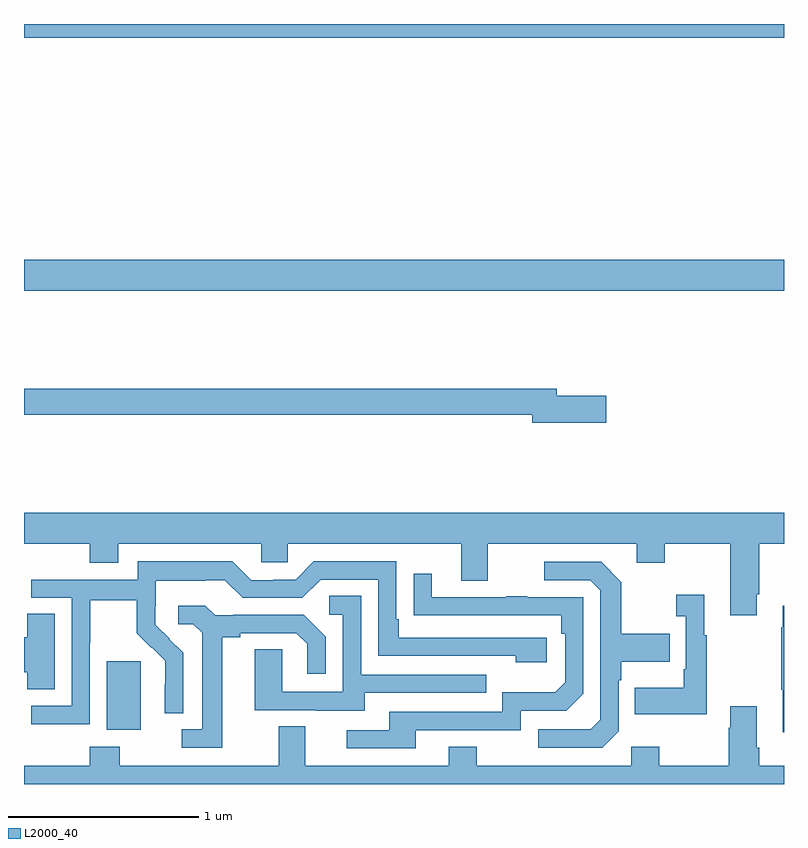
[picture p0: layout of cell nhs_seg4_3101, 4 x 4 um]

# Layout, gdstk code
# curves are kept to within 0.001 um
import gdstk
lib = gdstk.Library(unit=1e-6, precision=1e-09)
def R(c, l, rs):  # rectangles x0, y0, x1, y1
    for r in rs: c.add(gdstk.rectangle(r[:2], r[2:], *l))
def P(c, l, *ps):  # polygons
    for p in ps: c.add(gdstk.Polygon(p, *l))
L2000_40 = (2000, 40)

nhs_seg4_3101 = lib.new_cell('nhs_seg4_3101')
R(nhs_seg4_3101, L2000_40, [(275.435,785.186,275.614,785.547), (275,787.496,279,787.66), (275,788.828,279,788.9)])
P(nhs_seg4_3101, L2000_40, [(278.065,786.944),(277.804,786.944),(277.804,786.98),(275,786.98),(275,786.844),(277.676,786.844),(277.676,786.802),(278.065,786.802)],
  [(278.857,785.899),(278.87,785.899),(278.87,786.164),(279,786.164),(279,786.328),(275,786.328),(275,786.164),(275.345,786.164),(275.345,786.065),(275.497,786.065),(275.497,786.164),(276.249,786.164),(276.249,786.066),(276.387,786.066),(276.387,786.164),(277.301,786.164),(277.301,785.97),(277.441,785.97),(277.441,786.164),(278.225,786.164),(278.225,786.065),(278.373,786.065),(278.373,786.164),(278.717,786.164),(278.717,785.787),(278.857,785.787)],
  [(275.346,785.644),(275.349,785.644),(275.349,785.868),(275.593,785.868),(275.593,785.693),(275.67,785.616),(275.673,785.619),(275.744,785.549),(275.744,785.426),(275.742,785.426),(275.742,785.272),(275.838,785.272),(275.838,785.59),(275.692,785.738),(275.692,785.835),(275.694,785.835),(275.694,785.969),(275.957,785.969),(275.957,785.973),(276.057,785.973),(276.15,785.88),(276.465,785.88),(276.561,785.976),(276.864,785.976),(276.864,785.574),(277.589,785.574),(277.589,785.54),(277.75,785.54),(277.75,785.67),(276.973,785.67),(276.973,785.767),(276.96,785.767),(276.96,786.072),(276.525,786.072),(276.429,785.976),(276.311,785.976),(276.311,785.973),(276.195,785.973),(276.095,786.073),(275.598,786.073),(275.598,785.976),(275.037,785.976),(275.037,785.88),(275.25,785.88),(275.25,785.313),(275.037,785.313),(275.037,785.215),(275.346,785.215)],
  [(278.13,785.178),(278.13,785.447),(278.143,785.447),(278.143,785.543),(278.399,785.543),(278.399,785.691),(278.143,785.691),(278.143,785.963),(278.037,786.069),(277.737,786.069),(277.737,785.973),(277.98,785.973),(278.034,785.919),(278.034,785.238),(277.983,785.187),(277.707,785.187),(277.707,785.091),(278.043,785.091)],
  [(277.063,785.184),(277.614,785.184),(277.614,785.286),(277.854,785.286),(277.944,785.376),(277.944,785.883),(277.649,785.883),(277.649,785.888),(277.537,785.888),(277.537,785.883),(277.147,785.883),(277.147,786.007),(277.051,786.007),(277.051,785.788),(277.828,785.787),(277.828,785.69),(277.848,785.69),(277.848,785.436),(277.795,785.383),(277.518,785.383),(277.518,785.28),(276.923,785.28),(276.923,785.184),(276.699,785.184),(276.699,785.088),(277.063,785.088)],
  [(278.593,785.683),(278.581,785.683),(278.581,785.896),(278.433,785.896),(278.433,785.783),(278.484,785.783),(278.484,785.503),(278.472,785.503),(278.472,785.407),(278.215,785.407),(278.215,785.267),(278.593,785.267)],
  [(276.793,785.379),(277.433,785.379),(277.433,785.475),(276.774,785.475),(276.774,785.891),(276.606,785.891),(276.606,785.79),(276.678,785.79),(276.678,785.385),(276.36,785.385),(276.36,785.609),(276.215,785.609),(276.215,785.289),(276.539,785.289),(276.539,785.285),(276.793,785.285)],
  [(276.043,785.672),(276.139,785.672),(276.139,785.694),(276.434,785.694),(276.491,785.637),(276.491,785.481),(276.588,785.481),(276.588,785.674),(276.472,785.79),(276.1,785.79),(276.1,785.787),(276.006,785.787),(275.954,785.839),(275.811,785.839),(275.811,785.742),(275.892,785.742),(275.939,785.695),(275.939,785.187),(275.829,785.187),(275.829,785.091),(276.043,785.091)],
  [(279,785.839),(278.993,785.839),(278.993,785.726),(278.986,785.726),(278.986,785.395),(278.993,785.395),(278.993,785.172),(279,785.172)],
  [(275.161,785.795),(275.018,785.795),(275.018,785.672),(275,785.672),(275,785.489),(275.018,785.489),(275.018,785.398),(275.161,785.398)],
  [(279,784.996),(278.87,784.996),(278.87,785.092),(278.857,785.092),(278.857,785.308),(278.717,785.308),(278.717,785.195),(278.71,785.195),(278.71,784.996),(278.343,784.996),(278.343,785.095),(278.196,785.095),(278.196,784.996),(277.383,784.996),(277.383,785.095),(277.235,785.095),(277.235,784.996),(276.481,784.996),(276.481,785.204),(276.341,785.204),(276.341,784.996),(275.505,784.996),(275.505,785.095),(275.345,785.095),(275.345,784.996),(275,784.996),(275,784.9),(279,784.9)])

lib.write_gds('nhs_seg4_3101.gds')
